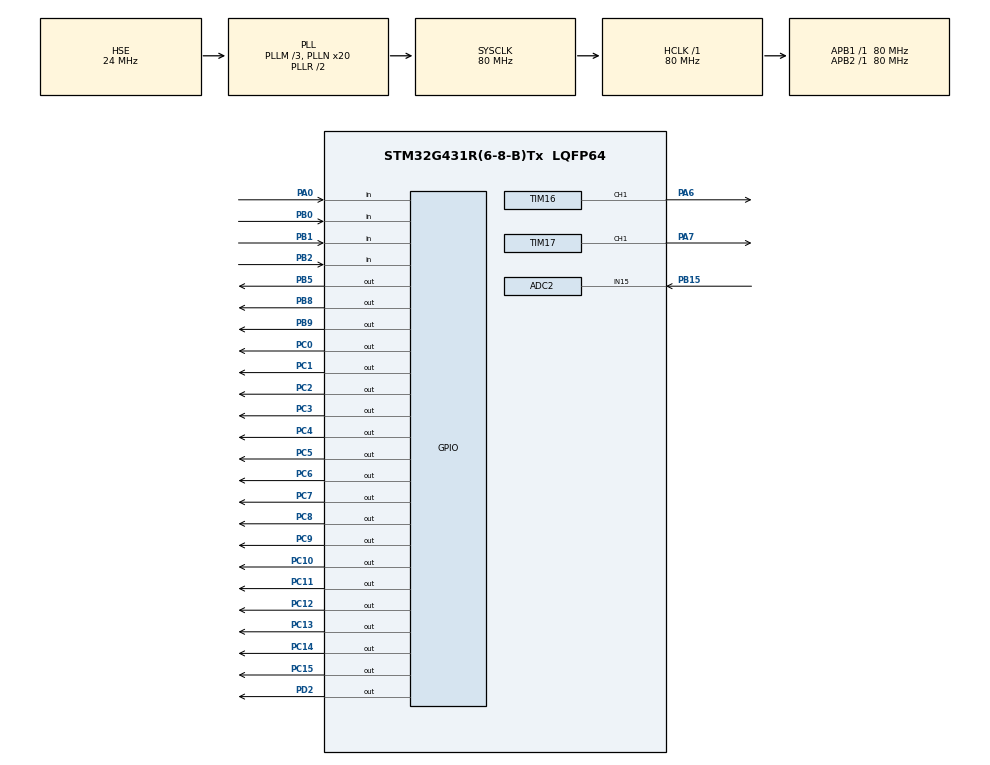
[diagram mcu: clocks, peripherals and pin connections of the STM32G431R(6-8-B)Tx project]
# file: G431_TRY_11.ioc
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ADC2.Channel-0\#ChannelRegularConversion=ADC_CHANNEL_15
ADC2.NbrOfConversionFlag=1
ADC2.OffsetNumber-0\#ChannelRegularConversion=ADC_OFFSET_NONE
ADC2.Rank-0\#ChannelRegularConversion=1
ADC2.SamplingTime-0\#ChannelRegularConversion=ADC_SAMPLETIME_2CYCLES_5
Mcu.Family=STM32G4
Mcu.Name=STM32G431R(6-8-B)Tx
Mcu.Package=LQFP64
NVIC.PriorityGroup=NVIC_PRIORITYGROUP_4
NVIC.TIM3_IRQn=true\:0\:0\:false\:false\:true\:true\:true
PA0.GPIO_Mode=GPIO_MODE_INPUT
PA0.GPIO_PuPd=GPIO_PULLUP
PA0.Signal=GPIO_Input
PA13.Mode=Serial_Wire
PA13.Signal=SYS_JTMS-SWDIO
PA14.Mode=Serial_Wire
PA14.Signal=SYS_JTCK-SWCLK
PA6.Signal=S_TIM16_CH1
PA7.Signal=S_TIM17_CH1
PB0.GPIO_Mode=GPIO_MODE_INPUT
PB0.GPIO_PuPd=GPIO_PULLUP
PB0.Signal=GPIO_Input
PB1.GPIO_Mode=GPIO_MODE_INPUT
PB1.GPIO_PuPd=GPIO_PULLUP
PB1.Signal=GPIO_Input
PB15.Mode=IN15-Single-Ended
PB15.Signal=ADC2_IN15
PB2.GPIO_Mode=GPIO_MODE_INPUT
PB2.GPIO_PuPd=GPIO_PULLUP
PB2.Signal=GPIO_Input
PB5.Signal=GPIO_Output
PB8-BOOT0.Signal=GPIO_Output
PB9.Signal=GPIO_Output
PC0.Signal=GPIO_Output
PC1.Signal=GPIO_Output
PC10.Signal=GPIO_Output
PC11.Signal=GPIO_Output
PC12.Signal=GPIO_Output
PC13.Signal=GPIO_Output
PC14-OSC32_IN.Signal=GPIO_Output
PC15-OSC32_OUT.Signal=GPIO_Output
PC2.Signal=GPIO_Output
PC3.Signal=GPIO_Output
PC4.Signal=GPIO_Output
PC5.Signal=GPIO_Output
PC6.Signal=GPIO_Output
PC7.Signal=GPIO_Output
PC8.Signal=GPIO_Output
PC9.Signal=GPIO_Output
PD2.Signal=GPIO_Output
PF0-OSC_IN.Mode=HSE-External-Oscillator
PF0-OSC_IN.Signal=RCC_OSC_IN
PF1-OSC_OUT.Mode=HSE-External-Oscillator
PF1-OSC_OUT.Signal=RCC_OSC_OUT
ProjectManager.HeapSize=0x200
ProjectManager.StackSize=0x400
ProjectManager.TargetToolchain=MDK-ARM V5
RCC.ADC12Freq_Value=80000000
RCC.AHBFreq_Value=80000000
RCC.APB1Freq_Value=80000000
RCC.APB1TimFreq_Value=80000000
RCC.APB2Freq_Value=80000000
RCC.APB2TimFreq_Value=80000000
RCC.CortexFreq_Value=80000000
RCC.EXTERNAL_CLOCK_VALUE=12288000
RCC.HCLKFreq_Value=80000000
RCC.HSE_VALUE=24000000
RCC.HSI48_VALUE=48000000
RCC.HSI_VALUE=16000000
RCC.LSE_VALUE=32768
RCC.PLLM=RCC_PLLM_DIV3
RCC.PLLN=20
RCC.PLLSourceVirtual=RCC_PLLSOURCE_HSE
RCC.SYSCLKFreq_VALUE=80000000
RCC.SYSCLKSource=RCC_SYSCLKSOURCE_PLLCLK
RCC.USBFreq_Value=80000000
RCC.VCOOutputFreq_Value=160000000
SH.S_TIM16_CH1.0=TIM16_CH1,PWM Generation1 CH1
SH.S_TIM17_CH1.0=TIM17_CH1,PWM Generation1 CH1
TIM16.Channel=TIM_CHANNEL_1
TIM16.PeriodNoDither=1000-1
TIM16.Prescaler=800-1
TIM16.PulseNoDither_1=20
TIM17.Channel=TIM_CHANNEL_1
TIM17.PeriodNoDither=1000-1
TIM17.Prescaler=400-1
TIM17.PulseNoDither_1=20
TIM3.PeriodNoDither=100-1
TIM3.Prescaler=8000-1
VP_SYS_VS_DBSignals.Mode=DisableDeadBatterySignals
VP_TIM16_VS_ClockSourceINT.Mode=Enable_Timer
VP_TIM17_VS_ClockSourceINT.Mode=Enable_Timer
VP_TIM3_VS_ClockSourceINT.Mode=Internal
board=custom

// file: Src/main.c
/* USER CODE BEGIN Header */
/**
  ******************************************************************************
  * @file           : main.c
  * @brief          : Main program body
  ******************************************************************************
  * @attention
  *
  * <h2><center>&copy; Copyright (c) 2023 STMicroelectronics.
  * All rights reserved.</center></h2>
  *
  * This software component is licensed by ST under BSD 3-Clause license,
  * the "License"; You may not use this file except in compliance with the
  * License. You may obtain a copy of the License at:
  *                        opensource.org/licenses/BSD-3-Clause
  *
  ******************************************************************************
  */
/* USER CODE END Header */

#include "main.h"
#include "adc.h"
#include "tim.h"
#include "gpio.h"

/* USER CODE BEGIN Includes */
#include "led.h"
#include "madc.h"
#include "mint.h"
#include "lcd.h"

/* USER CODE END Includes */

/* USER CODE BEGIN PV */
extern struct keys key[4];
bool page=0,mode=0;
double adc_value=0;
char text[30];
unsigned int PA6_DUTY=10,PA7_DUTY=10;
/* USER CODE END PV */

void SystemClock_Config(void);
/* USER CODE BEGIN PFP */
void KEY_Proc(void);
void LCD_Proc(void);
/* USER CODE END PFP */

int main(void)
{

  /* MCU Configuration--------------------------------------------------------*/

  /* Reset of all peripherals, Initializes the Flash interface and the Systick. */
  HAL_Init();

  /* Configure the system clock */
  SystemClock_Config();

  /* Initialize all configured peripherals */
  MX_GPIO_Init();
  MX_ADC2_Init();
  MX_TIM16_Init();
  MX_TIM17_Init();
  MX_TIM3_Init();
  /* USER CODE BEGIN 2 */
	HAL_TIM_Base_Start_IT(&htim3);
	HAL_ADC_Start(&hadc2);

	HAL_TIM_PWM_Start(&htim16,TIM_CHANNEL_1);
	HAL_TIM_PWM_Start(&htim17,TIM_CHANNEL_1);
	__HAL_TIM_SetCompare(&htim16,TIM_CHANNEL_1,10);
	__HAL_TIM_SetCompare(&htim17,TIM_CHANNEL_1,10);

	LCD_Init();
	LCD_Clear(Black);
	LCD_SetBackColor(Black);
	LCD_SetTextColor(White);
  /* USER CODE END 2 */

  /* Infinite loop */
  /* USER CODE BEGIN WHILE */
  while (1)
  {
		if(mode == 0 && page == 0) LED_Proc(0x03);
		else if(mode == 0 && page == 1) LED_Proc(0x01);
		else if(mode == 1 && page == 0) LED_Proc(0x02);
		else LED_Proc(0x00);
		if(mode == 0)
		{
			PA6_DUTY = (unsigned int)(adc_value/3.3*100);
			PA7_DUTY = (unsigned int)(adc_value/3.3*100);
			__HAL_TIM_SetCompare(&htim16,TIM_CHANNEL_1,PA6_DUTY);
			__HAL_TIM_SetCompare(&htim17,TIM_CHANNEL_1,PA7_DUTY);
		}
		adc_value = Getadc(&hadc2);
		KEY_Proc();
		LCD_Proc();
    /* USER CODE END WHILE */

  }
}

void SystemClock_Config(void)
{
  RCC_OscInitTypeDef RCC_OscInitStruct = {0};
  RCC_ClkInitTypeDef RCC_ClkInitStruct = {0};
  RCC_PeriphCLKInitTypeDef PeriphClkInit = {0};

  /** Configure the main internal regulator output voltage
  */
  HAL_PWREx_ControlVoltageScaling(PWR_REGULATOR_VOLTAGE_SCALE1);
  /** Initializes the CPU, AHB and APB busses clocks
  */
  RCC_OscInitStruct.OscillatorType = RCC_OSCILLATORTYPE_HSE;
  RCC_OscInitStruct.HSEState = RCC_HSE_ON;
  RCC_OscInitStruct.PLL.PLLState = RCC_PLL_ON;
  RCC_OscInitStruct.PLL.PLLSource = RCC_PLLSOURCE_HSE;
  RCC_OscInitStruct.PLL.PLLM = RCC_PLLM_DIV3;
  RCC_OscInitStruct.PLL.PLLN = 20;
  RCC_OscInitStruct.PLL.PLLP = RCC_PLLP_DIV2;
  RCC_OscInitStruct.PLL.PLLQ = RCC_PLLQ_DIV2;
  RCC_OscInitStruct.PLL.PLLR = RCC_PLLR_DIV2;
  if (HAL_RCC_OscConfig(&RCC_OscInitStruct) != HAL_OK)
  {
    Error_Handler();
  }
  /** Initializes the CPU, AHB and APB busses clocks
  */
  RCC_ClkInitStruct.ClockType = RCC_CLOCKTYPE_HCLK|RCC_CLOCKTYPE_SYSCLK
                              |RCC_CLOCKTYPE_PCLK1|RCC_CLOCKTYPE_PCLK2;
  RCC_ClkInitStruct.SYSCLKSource = RCC_SYSCLKSOURCE_PLLCLK;
  RCC_ClkInitStruct.AHBCLKDivider = RCC_SYSCLK_DIV1;
  RCC_ClkInitStruct.APB1CLKDivider = RCC_HCLK_DIV1;
  RCC_ClkInitStruct.APB2CLKDivider = RCC_HCLK_DIV1;

  if (HAL_RCC_ClockConfig(&RCC_ClkInitStruct, FLASH_LATENCY_3) != HAL_OK)
  {
    Error_Handler();
  }
  /** Initializes the peripherals clocks
  */
  PeriphClkInit.PeriphClockSelection = RCC_PERIPHCLK_ADC12;
  PeriphClkInit.Adc12ClockSelection = RCC_ADC12CLKSOURCE_SYSCLK;
  if (HAL_RCCEx_PeriphCLKConfig(&PeriphClkInit) != HAL_OK)
  {
    Error_Handler();
  }
}

/* USER CODE BEGIN 4 */
	void KEY_Proc(void)
	{
		if(key[0].single_flag == 1)
		{
			page = 1 - page;
			key[0].single_flag = 0;
		}

		if(key[1].single_flag == 1)
		{
			if(page == 1 && mode == 1)
			{
				PA6_DUTY = PA6_DUTY + 10 > 90?10:PA6_DUTY + 10;
				__HAL_TIM_SetCompare(&htim16,TIM_CHANNEL_1,PA6_DUTY);
			}
			key[1].single_flag = 0;
		}

		if(key[2].single_flag == 1)
		{
			if(page == 1 && mode == 1)
			{
				PA7_DUTY = PA7_DUTY + 10 > 90?10:PA7_DUTY + 10;
				__HAL_TIM_SetCompare(&htim17,TIM_CHANNEL_1,PA7_DUTY);
			}
			key[2].single_flag = 0;
		}

		if(key[3].single_flag == 1)
		{
			mode = 1 - mode;
			key[3].single_flag = 0;
		}
	}
	#include "stdio.h"
	void LCD_Proc(void)
	{
		if(page == 0)
		{
			LCD_DisplayStringLine(Line0,(unsigned char *)"      Data          ");

			sprintf(text,"    V:%.2fV         ",adc_value);
			LCD_DisplayStringLine(Line2,(unsigned char *)text);
			if(mode == 0) LCD_DisplayStringLine(Line4,(unsigned char *)"    Mode:AUTO       ");
			else LCD_DisplayStringLine(Line4,(unsigned char *)"    Mode:MANU       ");
		}
		else
		{
			LCD_DisplayStringLine(Line0,(unsigned char *)"      Para          ");
			sprintf(text,"    PA6:%d%%         ",PA6_DUTY);
			LCD_DisplayStringLine(Line2,(unsigned char *)text);
			sprintf(text,"    PA7:%d%%         ",PA7_DUTY);
			LCD_DisplayStringLine(Line4,(unsigned char *)text);
		}
	}
/* USER CODE END 4 */

void Error_Handler(void)
{
}

/************************ (C) COPYRIGHT STMicroelectronics *****END OF FILE****/
